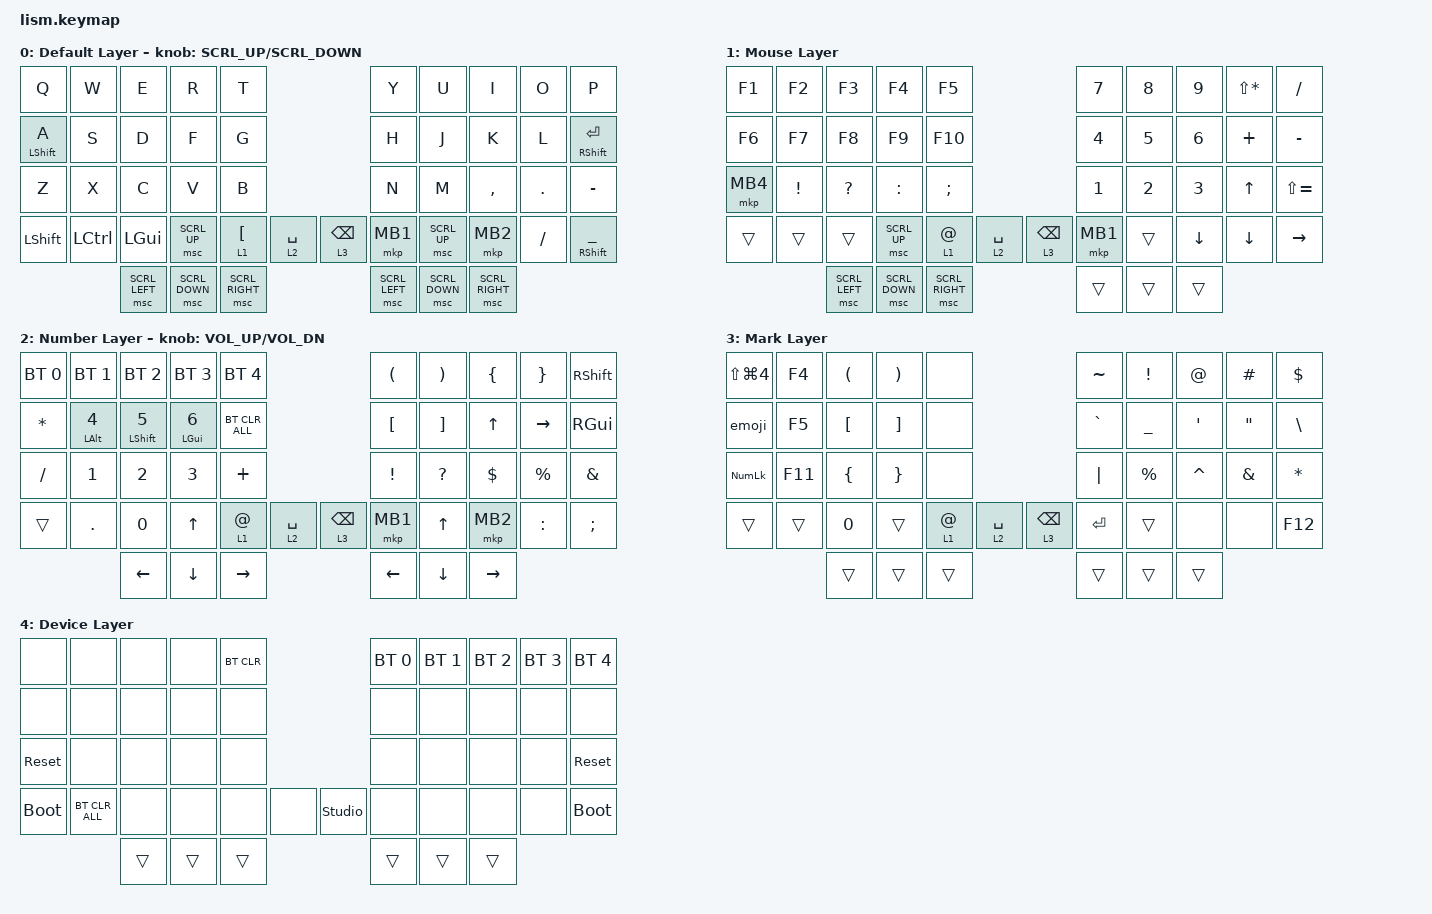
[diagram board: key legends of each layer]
#define ZMK_POINTING_DEFAULT_SCRL_VAL 25

#include <dt-bindings/zmk/mouse.h>
#include <behaviors.dtsi>
#include <dt-bindings/zmk/bt.h>
#include <dt-bindings/zmk/keys.h>
#include <dt-bindings/zmk/pointing.h>

&mt {
    tapping-term-ms = <300>;
    flavor = "balanced";
};

&lt { quick-tap-ms = <300>; };

/ {
    macros {
        emoji: emoji_macro {
            compatible = "zmk,behavior-macro";
            label = "EMOJI";
            #binding-cells = <0>;
            bindings =
                <&macro_press>,
                <&kp CAPSLOCK>,
                <&macro_tap>,
                <&kp E>,
                <&macro_release>,
                <&kp CAPSLOCK>;
        };
    };

    behaviors {
        encoder_msc: sensor_rotate_msc {
            compatible = "zmk,behavior-sensor-rotate-var";
            #sensor-binding-cells = <2>;
            bindings = <&msc>, <&msc>;

            tap-ms = <20>;
        };

        encoder_kp: sensor_rotate_kp {
            compatible = "zmk,behavior-sensor-rotate-var";
            #sensor-binding-cells = <2>;
            bindings = <&kp>, <&kp>;
        };
    };

    keymap {
        compatible = "zmk,keymap";

        default_layer {
            display-name = "Default Layer";
            bindings = <
&kp Q             &kp W      &kp E           &kp R           &kp T                                               &kp Y           &kp U           &kp I            &kp O      &kp P
&mt LEFT_SHIFT A  &kp S      &kp D           &kp F           &kp G                                               &kp H           &kp J           &kp K            &kp L      &mt RIGHT_SHIFT ENTER
&kp Z             &kp X      &kp C           &kp V           &kp B                                               &kp N           &kp M           &kp COMMA        &kp DOT    &kp MINUS
&kp LEFT_SHIFT    &kp LCTRL  &kp LEFT_GUI    &msc SCRL_UP    &lt 1 LEFT_BRACKET  &lt 2 SPACE    &lt 3 BACKSPACE  &mkp MB1        &msc SCRL_UP    &mkp MB2         &kp SLASH  &mt RIGHT_SHIFT UNDERSCORE
                             &msc SCRL_LEFT  &msc SCRL_DOWN  &msc SCRL_RIGHT                                     &msc SCRL_LEFT  &msc SCRL_DOWN  &msc SCRL_RIGHT
            >;

            sensor-bindings = <&encoder_msc SCRL_UP SCRL_DOWN>;
        };

        layer_1 {
            display-name = "Mouse Layer";
            bindings = <
&kp F1    &kp F2           &kp F3          &kp F4          &kp F5                                           &kp NUMBER_7  &kp NUMBER_8  &kp NUMBER_9  &kp LS(ASTERISK)  &kp SLASH
&kp F6    &kp F7           &kp F8          &kp F9          &kp F10                                          &kp NUMBER_4  &kp N5        &kp NUMBER_6  &kp PLUS          &kp MINUS
&mkp MB4  &kp EXCLAMATION  &kp QUESTION    &kp COLON       &kp SEMICOLON                                    &kp NUMBER_1  &kp NUMBER_2  &kp NUMBER_3  &kp UP_ARROW      &kp LS(EQUAL)
&trans    &trans           &trans          &msc SCRL_UP    &lt 1 AT_SIGN    &lt 2 SPACE    &lt 3 BACKSPACE  &mkp MB1      &trans        &kp DOWN      &kp DOWN_ARROW    &kp RIGHT_ARROW
                           &msc SCRL_LEFT  &msc SCRL_DOWN  &msc SCRL_RIGHT                                  &trans        &trans        &trans
            >;
        };

        layer_2 {
            display-name = "Number Layer";
            bindings = <
&bt BT_SEL 0  &bt BT_SEL 1       &bt BT_SEL 2         &bt BT_SEL 3       &bt BT_SEL 4                                    &kp LEFT_PARENTHESIS  &kp RIGHT_PARENTHESIS  &kp LEFT_BRACE  &kp RIGHT_BRACE  &kp RSHIFT
&kp ASTERISK  &mt LALT NUMBER_4  &mt LSHIFT NUMBER_5  &mt LGUI NUMBER_6  &bt BT_CLR_ALL                                  &kp LEFT_BRACKET      &kp RIGHT_BRACKET      &kp UP          &kp RIGHT        &kp RGUI
&kp SLASH     &kp NUMBER_1       &kp NUMBER_2         &kp NUMBER_3       &kp PLUS                                        &kp EXCLAMATION       &kp QUESTION           &kp DOLLAR      &kp PERCENT      &kp AMPERSAND
&trans        &kp DOT            &kp NUMBER_0         &kp UP             &lt 1 AT        &lt 2 SPACE    &lt 3 BACKSPACE  &mkp MB1              &kp UP                 &mkp MB2        &kp COLON        &kp SEMICOLON
                                 &kp LEFT             &kp DOWN           &kp RIGHT                                       &kp LEFT              &kp DOWN               &kp RIGHT
            >;

            sensor-bindings = <&encoder_kp C_VOL_UP C_VOL_DN>;
        };

        layer_3 {
            display-name = "Mark Layer";
            bindings = <
&kp LS(LG(N4))  &kp F4   &kp LEFT_PARENTHESIS  &kp RIGHT_PARENTHESIS  &none                                     &kp TILDE  &kp EXCLAMATION  &kp AT_SIGN       &kp HASH           &kp DOLLAR
&emoji          &kp F5   &kp LEFT_BRACKET      &kp RIGHT_BRACKET      &none                                     &kp GRAVE  &kp UNDER        &kp SINGLE_QUOTE  &kp DOUBLE_QUOTES  &kp BACKSLASH
&kp KP_NUMLOCK  &kp F11  &kp LEFT_BRACE        &kp RIGHT_BRACE        &none                                     &kp PIPE   &kp PERCENT      &kp CARET         &kp AMPERSAND      &kp ASTERISK
&trans          &trans   &kp NUMBER_0          &trans                 &lt 1 AT  &lt 2 SPACE    &lt 3 BACKSPACE  &kp ENTER  &trans           &none             &none              &kp F12
                         &trans                &trans                 &trans                                    &trans     &trans           &trans
            >;
        };

        layer_4 {
            display-name = "Device Layer";
            bindings = <
&none        &none           &none   &none   &bt BT_CLR                           &bt BT_SEL 0  &bt BT_SEL 1  &bt BT_SEL 2  &bt BT_SEL 3  &bt BT_SEL 4
&none        &none           &none   &none   &none                                &none         &none         &none         &none         &none
&sys_reset   &none           &none   &none   &none                                &none         &none         &none         &none         &sys_reset
&bootloader  &bt BT_CLR_ALL  &none   &none   &none       &none    &studio_unlock  &none         &none         &none         &none         &bootloader
                             &trans  &trans  &trans                               &trans        &trans        &trans
            >;
        };

        layer_5 {
            status = "reserved";
            display-name = "Brank Layer";
            bindings = <
&trans  &trans  &trans  &trans  &trans                    &trans  &trans  &trans  &trans  &trans
&trans  &trans  &trans  &trans  &trans                    &trans  &trans  &trans  &trans  &trans
&trans  &trans  &trans  &trans  &trans                    &trans  &trans  &trans  &trans  &trans
&trans  &trans  &trans  &trans  &trans  &trans    &trans  &trans  &trans  &trans  &trans  &trans
                &trans  &trans  &trans                    &trans  &trans  &trans
            >;
        };

        layer_6 {
            status = "reserved";
            display-name = "Brank Layer";
            bindings = <
&trans  &trans  &trans  &trans  &trans                    &trans  &trans  &trans  &trans  &trans
&trans  &trans  &trans  &trans  &trans                    &trans  &trans  &trans  &trans  &trans
&trans  &trans  &trans  &trans  &trans                    &trans  &trans  &trans  &trans  &trans
&trans  &trans  &trans  &trans  &trans  &trans    &trans  &trans  &trans  &trans  &trans  &trans
                &trans  &trans  &trans                    &trans  &trans  &trans
            >;
        };

        layer_7 {
            status = "reserved";
            display-name = "Brank Layer";
            bindings = <
&trans  &trans  &trans  &trans  &trans                    &trans  &trans  &trans  &trans  &trans
&trans  &trans  &trans  &trans  &trans                    &trans  &trans  &trans  &trans  &trans
&trans  &trans  &trans  &trans  &trans                    &trans  &trans  &trans  &trans  &trans
&trans  &trans  &trans  &trans  &trans  &trans    &trans  &trans  &trans  &trans  &trans  &trans
                &trans  &trans  &trans                    &trans  &trans  &trans
            >;
        };
    };
};
